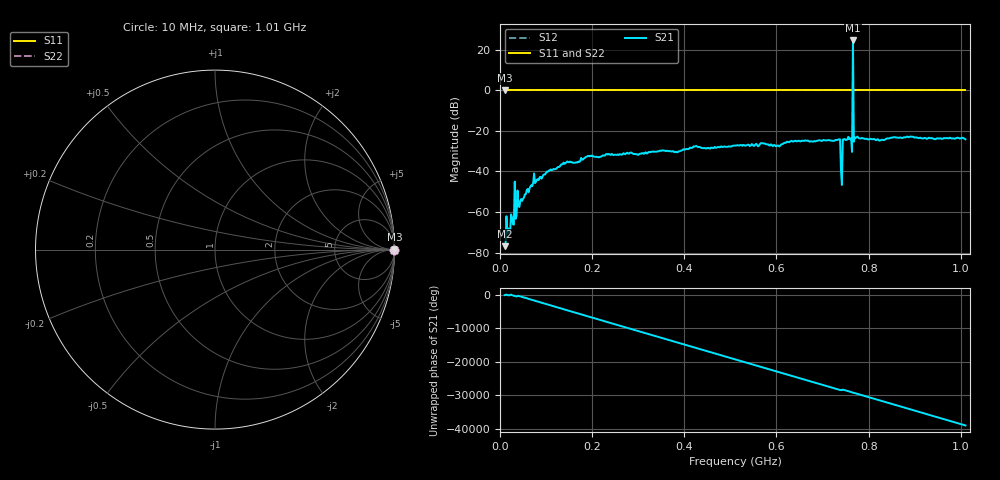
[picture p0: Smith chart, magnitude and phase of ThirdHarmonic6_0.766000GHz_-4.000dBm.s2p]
! 8/16/2025 1:35:14 AM
! C:\ANRITSUVNA\TEMP\TEMP.S2P
! CHANNEL.1
! TR.MEASUREMENT
! RAW.DATA
! RF.CORRECTION.OFF
! AVERAGING.OFF
! IF.BANDWIDTH: 5KHZ
! SWEEPTYPE:  FREQ.SWEEP(Linear)
! Reference Plane Port Info
! PORT:  PORT1  PORT2
! DISTANCE:  0  m  0  m
! TIME:  0  s  0  s
! PHASE.OFFSET:  0  deg.  0  deg.
! LOSS:  0  dB  0  dB
! REF.LOSS:  0  dB  0  dB
! REF.FREQ:  0  Hz  0  Hz
! Power Info
! POWER:  -20  dBm  -20  dBm
! EFF.POWER:  -20  dBm  -20  dBm
! SOURCE.ATTEN:  0  dB  0  dB
! TEST.ATTEN:  0  dB  0  dB
# GHZ S RI R 50.0
! FREQ.GHZ  S11RE  S11IM  S21RE  S21IM  S12RE  S12IM  S22RE  S22IM
!; PortSelection: Port_12
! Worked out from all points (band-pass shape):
!   501 points, 10 MHz to 1.01 GHz, reference 50 ohm
!   highest |S21| = 24.49 dB at 766 MHz (marker M1); lowest = -76.9 dB at 10 MHz (marker M2)
!   |S21| within 3 dB of the highest: 765.8907 MHz to 766.1203 MHz (229.6 kHz wide, 0.03 % of centre)
!   lowest |S11| = 0.0 dB at 10 MHz (marker M3)
!   |S11| at or under -10 dB: nowhere
!   |S22| runs from 0.0 to 0.0 dB; largest |S21 - S12| = 17
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0.01  1 0  -1.31e-05 -0.000143  1 0  1 0
0.026  1 0  -0.000398 -0.000627  1 0  1 0
0.028  1 0  -0.000467 0.000183  1 0  1 0
0.032  1 0  0.0051 -0.00222  1 0  1 0
0.036  1 0  -0.000731 -0.000362  1 0  1 0
0.038  1 0  0.00302 -0.0015  1 0  1 0
0.07  1 0  -0.00148 -0.00406  1 0  1 0
0.178  1 0  -0.019 -0.00446  1 0  1 0
0.344  1 0  0.0303 -0.00619  1 0  1 0
0.51  1 0  -0.0412 0.0136  1 0  1 0
0.678  1 0  -0.0218 -0.0495  1 0  1 0
0.734  1 0  -0.0541 0.0277  1 0  1 0
0.738  1 0  0.0608 -0.0104  1 0  1 0
0.742  1 0  0.00246 -0.0039  1 0  1 0
0.748  1 0  0.0373 -0.0503  1 0  1 0
0.76  1 0  -0.064 -0.00868  1 0  1 0
0.762  1 0  -0.0178 0.0619  1 0  1 0
0.766  1 0  -11.87 -11.84  1 0  1 0
0.77  1 0  -0.0514 0.0448  1 0  1 0
0.772  1 0  0.0348 0.0568  1 0  1 0
0.844  1 0  0.0448 0.0462  1 0  1 0
1.01  1 0  -0.0592 -0.0164  1 0  1 0
